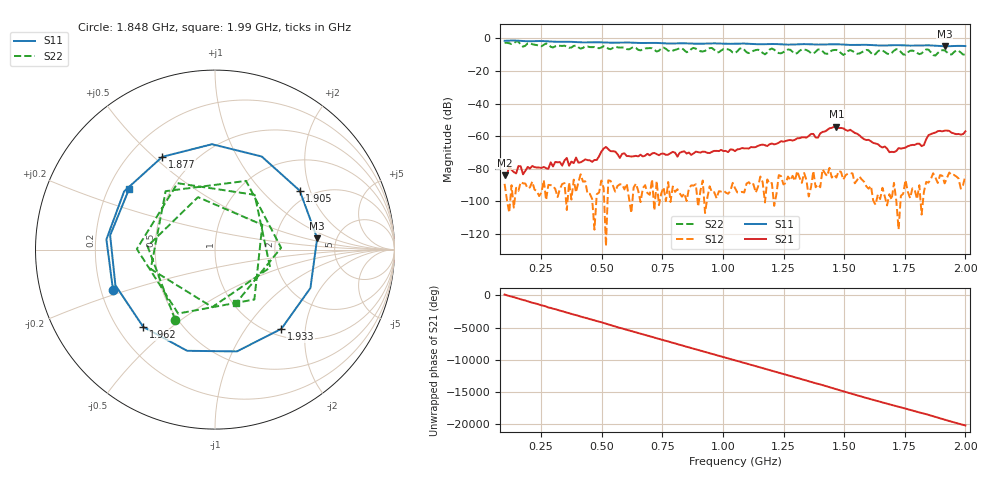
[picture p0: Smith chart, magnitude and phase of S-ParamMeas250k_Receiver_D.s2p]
!Keysight Technologies,N5242B,MY48420967,A.15.65.19
!Date: Saturday, February 04, 2023 15:36:39
!Correction: S11(C  1-Port  )
!S21(Off)
!S12(Off)
!S22(Off)
!S2P File: Measurements: S11, S21, S12, S22:
# Hz S  dB  R 50
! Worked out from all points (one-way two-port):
!   201 points, 100 MHz to 2 GHz, reference 50 ohm
!   highest |S21| = -54.10 dB at 1.468 GHz (marker M1); lowest = -84.0 dB at 100 MHz (marker M2)
!   lowest |S11| = -4.8 dB at 1.915 GHz (marker M3), VSWR 3.68, Z = 177 + j33.3 ohm
!   |S11| at or under -10 dB: nowhere
!   |S22| runs from -10.5 to -1.9 dB; largest |S21 - S12| = 0.0019
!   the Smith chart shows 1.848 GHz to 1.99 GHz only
!   S11 on the Smith chart (normalised r, x): 1.848 GHz: 0.25, -0.18; 1.877 GHz: 0.33, +0.53; 1.905 GHz: 1.73, +1.70; 1.933 GHz: 1.13, -1.49; 1.962 GHz: 0.31, -0.40; 1.99 GHz: 0.29, +0.29
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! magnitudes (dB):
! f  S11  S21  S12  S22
! 100 MHz  -1.5  -84.0  -89.3  -2.8
! 423 MHz  -2.5  -75.3  -87.9  -5.8
! 480 MHz  -2.4  -74.6  -95.6  -5.8
! 518 MHz  -2.6  -66.6  -127.5  -5.2
! 575 MHz  -2.5  -73.3  -89.6  -5.7
! 736.5 MHz  -2.9  -71.7  -102.4  -7.6
! 1.05 GHz  -3.3  -69.2  -91.9  -9.1
! 1.079 GHz  -3.2  -67.3  -94.2  -5.9
! 1.373 GHz  -3.7  -58.6  -81.4  -9.3
! 1.392 GHz  -3.8  -60.9  -89.6  -6.9
! 1.468 GHz  -3.6  -54.1  -85.4  -7.1
! 1.687 GHz  -4.2  -69.8  -95.7  -9.8
! 1.715 GHz  -4.2  -69.1  -99.5  -6.6
! 1.819 GHz  -4.3  -66.1  -108.1  -9.2
! 1.848 GHz  -4.3  -59.4  -88.5  -6.9
! 1.877 GHz  -4.5  -57.8  -85.4  -10.5
! 1.905 GHz  -4.8  -57.1  -84.4  -7.2
! 1.915 GHz  -4.8  -56.6  -89.0  -7.4
! 1.933 GHz  -4.8  -56.8  -82.4  -9.8
! 1.962 GHz  -4.6  -58.8  -84.7  -7.4
! 1.99 GHz  -4.6  -58.7  -90.0  -9.9
! 2 GHz  -4.7  -57.1  -84.1  -10.0
